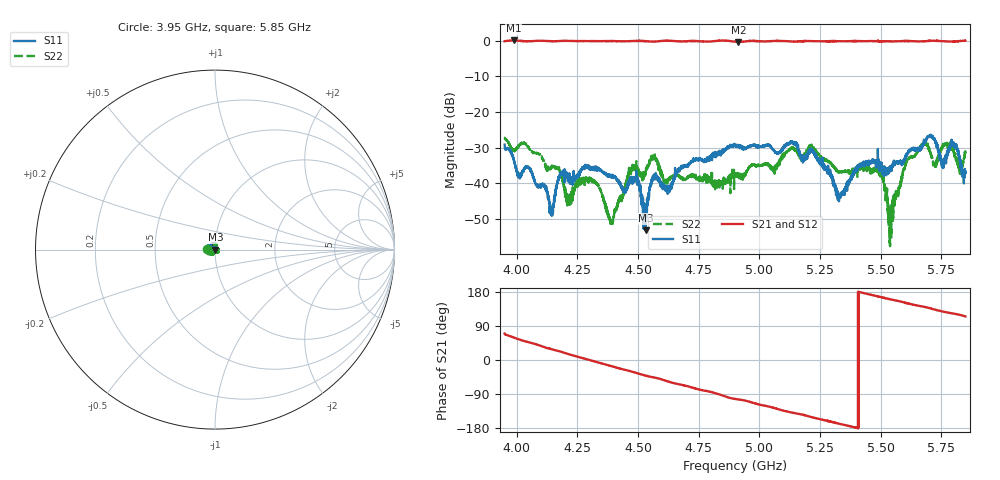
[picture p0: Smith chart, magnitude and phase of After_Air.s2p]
# GHZ S RI R 50.000000000000
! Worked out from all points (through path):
!   4501 points, 3.95 GHz to 5.85 GHz, reference 50 ohm
!   highest |S21| = 0.03 dB at 3.988 GHz (marker M1); lowest = -0.4 dB at 4.914 GHz (marker M2)
!   group delay of S21, straight-line fit = 451 ps
!   lowest |S11| = -53.1 dB at 4.531 GHz (marker M3), VSWR 1.00, Z = 50.2 - j0.0565 ohm
!   |S11| at or under -10 dB: start of sweep to end of sweep
!   |S22| runs from -57.6 to -27.2 dB; largest |S21 - S12| = 0.052
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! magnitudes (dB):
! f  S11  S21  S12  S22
! 3.95 GHz  -29.1  -0.2  -0.2  -27.3
! 3.988 GHz  -33.0  0.0  0.0  -30.6
! 4.144 GHz  -48.8  -0.2  -0.2  -35.4
! 4.178 GHz  -37.8  -0.1  -0.1  -36.5
! 4.212 GHz  -37.5  -0.1  -0.1  -45.6
! 4.267 GHz  -36.2  -0.2  -0.2  -39.3
! 4.332 GHz  -35.9  -0.1  -0.2  -40.3
! 4.391 GHz  -38.1  -0.1  -0.1  -51.3
! 4.471 GHz  -39.4  -0.1  -0.1  -36.5
! 4.531 GHz  -53.1  -0.2  -0.1  -37.3
! 4.584 GHz  -38.9  -0.2  -0.3  -34.4
! 4.9 GHz  -29.4  -0.3  -0.2  -37.2
! 4.914 GHz  -29.7  -0.4  -0.3  -38.0
! 5.217 GHz  -30.9  -0.1  -0.1  -30.1
! 5.329 GHz  -45.0  -0.2  -0.1  -36.9
! 5.496 GHz  -35.0  -0.2  -0.1  -37.2
! 5.534 GHz  -35.6  -0.2  -0.1  -49.1
! 5.673 GHz  -29.1  -0.2  -0.2  -29.2
! 5.723 GHz  -27.9  -0.1  -0.1  -34.8
! 5.758 GHz  -35.2  -0.2  -0.2  -29.5
! 5.804 GHz  -29.4  -0.2  -0.3  -32.3
! 5.85 GHz  -37.1  -0.1  0.0  -31.6
